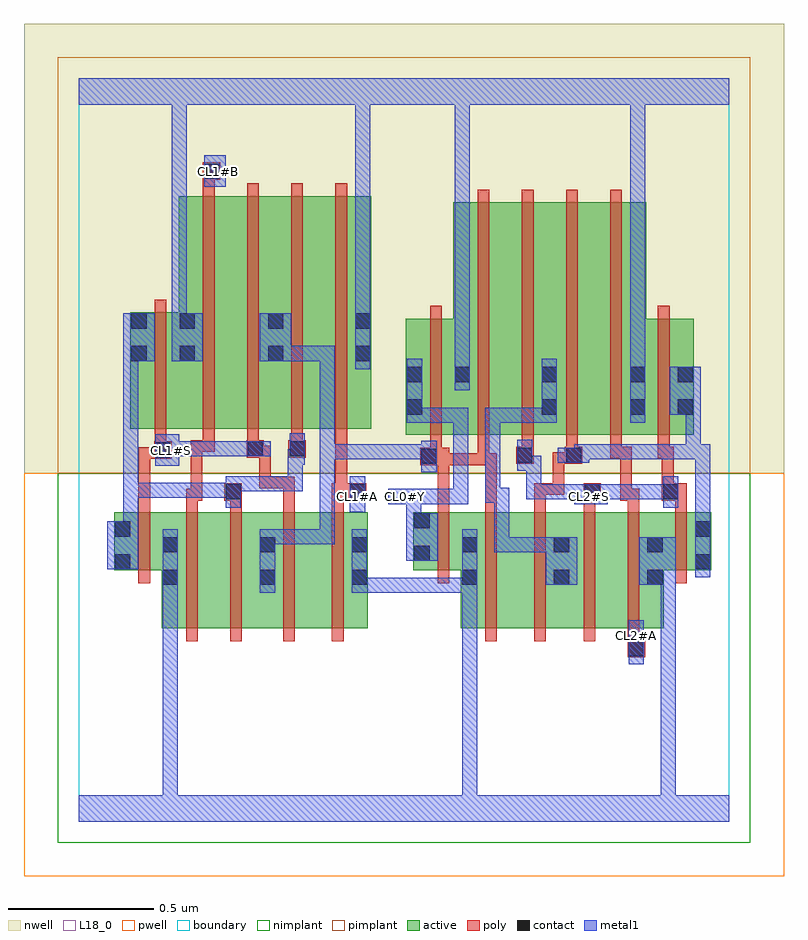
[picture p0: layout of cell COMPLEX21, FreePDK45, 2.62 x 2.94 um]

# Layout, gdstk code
import gdstk
lib = gdstk.Library(unit=1e-6, precision=1e-09)
def R(c, l, rs):  # rectangles x0, y0, x1, y1
    for r in rs: c.add(gdstk.rectangle(r[:2], r[2:], *l))
def A(c, l, x, y, w, h, nx, ny, dx, dy):  # array of equal rectangles
    R(c, l, [(x+i*dx, y+j*dy, x+i*dx+w, y+j*dy+h) for i in range(nx) for j in range(ny)])
active = (1, 0)
pwell = (2, 0)
nwell = (3, 0)
nimplant = (4, 0)
pimplant = (5, 0)
poly = (9, 0)
contact = (10, 0)
metal1 = (11, 0)
L18_0 = (18, 0)
boundary = (235, 0)

complex21 = lib.new_cell('COMPLEX21')
R(complex21, active, [(0.286,0.666,0.466,1.066), (0.286,0.666,0.346,0.984), (0.466,0.666,0.68,1.066), (0.62,0.666,0.8,1.066), (0.8,0.666,0.996,1.066), (1.316,0.666,1.376,1.066), (1.316,0.666,1.512,1.066), (1.512,0.666,1.692,1.066), (1.632,0.666,1.834,1.066), (1.834,0.666,2.014,1.066), (1.954,0.666,2.014,1.066), (0.62,0.756,0.68,0.984), (0.936,0.756,0.996,1.066), (1.632,0.756,1.692,1.066), (0.122,0.866,0.182,1.066), (0.122,0.866,0.346,1.066), (1.152,0.866,1.376,1.066), (1.954,0.866,2.178,1.066), (2.118,0.866,2.178,1.066), (1.152,0.894,1.212,1.066), (1.126,1.332,1.186,1.644), (1.126,1.332,1.35,1.732), (1.29,1.332,1.35,1.644), (1.29,1.332,1.47,2.132), (1.47,1.332,1.65,2.132), (1.59,1.332,1.774,2.132), (1.59,1.332,1.65,2.044), (1.774,1.332,1.954,2.132), (1.894,1.332,1.954,1.644), (1.894,1.332,2.118,1.732), (2.058,1.332,2.118,1.644), (0.178,1.354,0.238,1.754), (0.178,1.354,0.404,1.754), (0.344,1.354,0.524,2.154), (0.344,1.354,0.404,2.154), (0.524,1.354,0.708,2.154), (0.648,1.354,0.828,2.154), (0.648,1.354,0.708,2.044), (0.828,1.354,1.008,2.154), (0.948,1.354,1.008,2.044)])
R(complex21, pwell, [(-0.188,-0.188,2.428,1.2)])
R(complex21, nwell, [(-0.188,1.2,2.428,2.748)])
R(complex21, nimplant, [(-0.072,-0.072,2.312,1.2)])
R(complex21, pimplant, [(-0.072,1.2,2.312,2.632)])
A(complex21, poly, 1.526, 1.252, 0.04, 0.076, 3, 1, 0.152, 0)
A(complex21, poly, 0.428, 1.274, 0.04, 0.076, 3, 1, 0.152, 0)
A(complex21, poly, 1.374, 1.288, 0.04, 0.888, 4, 1, 0.152, 0)
A(complex21, poly, 0.428, 1.31, 0.04, 0.888, 4, 1, 0.152, 0)
R(complex21, poly, [(1.89,0.566,1.95,0.626), (1.89,0.586,1.93,0.662), (0.37,0.622,0.41,1.11), (0.522,0.622,0.562,1.11), (0.704,0.622,0.744,1.11), (0.872,0.622,0.912,1.11), (1.4,0.622,1.44,1.11), (1.568,0.622,1.608,1.11), (1.738,0.622,1.778,1.11), (1.89,0.622,1.93,1.11), (0.206,0.822,0.246,1.11), (1.236,0.822,1.276,1.11), (2.054,0.822,2.094,1.11), (0.206,1.07,0.246,1.29), (0.37,1.07,0.41,1.146), (0.522,1.07,0.562,1.146), (0.704,1.07,0.744,1.188), (0.872,1.07,0.912,1.146), (1.236,1.07,1.276,1.268), (1.4,1.07,1.44,1.268), (1.568,1.07,1.608,1.166), (1.738,1.07,1.778,1.146), (1.89,1.07,1.93,1.146), (2.054,1.07,2.094,1.146), (0.37,1.106,0.426,1.146), (0.386,1.106,0.426,1.314), (0.502,1.106,0.562,1.166), (0.872,1.106,0.99,1.166), (1.738,1.106,1.798,1.166), (1.864,1.106,1.904,1.292), (1.864,1.106,1.93,1.146), (2.008,1.106,2.094,1.166), (0.884,1.126,0.924,1.166), (0.884,1.126,0.924,1.166), (0.884,1.126,0.924,1.35), (1.568,1.126,1.608,1.166), (1.568,1.126,1.672,1.166), (1.632,1.126,1.672,1.272), (1.632,1.126,1.672,1.166), (2.008,1.126,2.048,1.292), (0.622,1.148,0.662,1.294), (0.622,1.148,0.662,1.188), (0.622,1.148,0.744,1.188), (0.704,1.148,0.744,1.188), (1.176,1.228,1.276,1.288), (1.236,1.228,1.276,1.268), (1.236,1.228,1.276,1.268), (1.236,1.228,1.414,1.268), (1.374,1.228,1.44,1.268), (1.374,1.228,1.414,1.268), (1.374,1.228,1.414,1.268), (1.374,1.228,1.414,1.328), (1.4,1.228,1.44,1.268), (1.4,1.228,1.44,1.268), (1.506,1.232,1.566,1.292), (1.632,1.232,1.714,1.272), (1.632,1.232,1.672,1.272), (1.674,1.232,1.734,1.292), (1.21,1.248,1.25,1.328), (0.206,1.25,0.3,1.29), (0.26,1.25,0.32,1.31), (0.26,1.25,0.3,1.29), (1.83,1.252,1.904,1.292), (1.994,1.252,2.034,1.328), (1.994,1.252,2.048,1.292), (0.578,1.254,0.638,1.314), (0.598,1.254,0.662,1.294), (0.622,1.254,0.662,1.294), (0.722,1.254,0.782,1.314), (0.262,1.27,0.302,1.35), (0.386,1.274,0.468,1.314), (1.21,1.288,1.25,1.776), (1.994,1.288,2.034,1.776), (0.262,1.31,0.302,1.798), (0.428,2.158,0.468,2.25), (0.428,2.21,0.488,2.27)])
R(complex21, contact, [(1.894,0.57,1.946,0.622), (0.29,0.816,0.342,0.868), (0.624,0.816,0.676,0.868), (0.94,0.816,0.992,0.868), (1.32,0.816,1.372,0.868), (1.636,0.816,1.688,0.868), (1.958,0.816,2.01,0.868), (0.126,0.87,0.178,0.922), (2.122,0.87,2.174,0.922), (1.156,0.898,1.208,0.95), (0.29,0.928,0.342,0.98), (0.624,0.928,0.676,0.98), (0.94,0.928,0.992,0.98), (1.32,0.928,1.372,0.98), (1.636,0.928,1.688,0.98), (1.958,0.928,2.01,0.98), (0.126,0.982,0.178,1.034), (2.122,0.982,2.174,1.034), (1.156,1.01,1.208,1.062), (0.506,1.11,0.558,1.162), (0.934,1.11,0.986,1.162), (1.742,1.11,1.794,1.162), (2.012,1.11,2.064,1.162), (1.18,1.232,1.232,1.284), (1.51,1.236,1.562,1.288), (1.678,1.236,1.73,1.288), (0.264,1.254,0.316,1.306), (0.582,1.258,0.634,1.31), (0.726,1.258,0.778,1.31), (1.13,1.402,1.182,1.454), (1.594,1.402,1.646,1.454), (1.898,1.402,1.95,1.454), (2.062,1.402,2.114,1.454), (1.13,1.514,1.182,1.566), (1.294,1.514,1.346,1.566), (1.594,1.514,1.646,1.566), (1.898,1.514,1.95,1.566), (2.062,1.514,2.114,1.566), (0.182,1.586,0.234,1.638), (0.348,1.586,0.4,1.638), (0.652,1.586,0.704,1.638), (0.952,1.586,1.004,1.638), (0.182,1.698,0.234,1.75), (0.348,1.698,0.4,1.75), (0.652,1.698,0.704,1.75), (0.952,1.698,1.004,1.75), (0.432,2.214,0.484,2.266)])
R(complex21, metal1, [(0,0,2.24,0.092), (0.29,0.04,0.342,0.092), (0.29,0.04,0.342,0.092), (0.29,0.04,0.342,0.092), (0.29,0.04,0.342,0.092), (0.29,0.04,0.342,0.84), (1.32,0.04,1.372,0.092), (1.32,0.04,1.372,0.092), (1.32,0.04,1.372,0.092), (1.32,0.04,1.372,0.092), (1.32,0.04,1.372,0.092), (1.32,0.04,1.372,0.092), (1.32,0.04,1.372,0.092), (1.32,0.04,1.372,0.092), (1.32,0.04,1.372,0.092), (1.32,0.04,1.372,0.092), (1.32,0.04,1.372,0.092), (1.32,0.04,1.372,0.092), (1.32,0.04,1.372,0.84), (2.004,0.04,2.056,0.868), (1.894,0.542,1.946,0.694), (0.29,0.788,0.342,0.84), (0.29,0.788,0.342,0.84), (0.29,0.788,0.342,0.84), (0.29,0.788,0.342,0.84), (0.29,0.788,0.342,0.84), (0.29,0.788,0.342,0.84), (0.29,0.788,0.342,0.84), (0.29,0.788,0.342,0.84), (0.29,0.788,0.342,1.008), (0.624,0.788,0.676,1.008), (0.94,0.788,0.992,1.008), (0.94,0.788,1.114,0.84), (1.062,0.788,1.114,0.84), (1.062,0.788,1.114,0.84), (1.062,0.788,1.114,0.84), (1.062,0.788,1.372,0.84), (1.32,0.788,1.372,1.008), (1.608,0.816,1.716,0.98), (1.93,0.816,2.056,0.98), (2.004,0.816,2.056,0.868), (2.004,0.816,2.056,0.868), (2.004,0.816,2.056,0.868), (2.004,0.816,2.056,0.868), (2.004,0.816,2.056,0.868), (2.004,0.816,2.056,0.868), (2.004,0.816,2.056,0.868), (2.004,0.816,2.056,0.868), (2.004,0.816,2.056,0.868), (2.004,0.816,2.056,0.868), (2.004,0.816,2.056,0.868), (2.004,0.816,2.056,0.868), (2.122,0.842,2.174,1.062), (0.098,0.87,0.206,1.034), (1.128,0.898,1.236,1.062), (1.43,0.928,1.482,0.98), (1.43,0.928,1.482,0.98), (1.43,0.928,1.482,0.98), (1.43,0.928,1.66,0.98), (1.43,0.928,1.482,1.15), (0.624,0.956,0.772,1.008), (0.72,0.956,0.772,1.008), (0.72,0.956,0.882,1.008), (0.83,0.956,0.882,1.008), (0.83,0.956,0.882,1.3), (0.154,0.982,0.206,1.168), (1.128,1.01,1.18,1.146), (2.122,1.01,2.174,1.3), (0.934,1.066,0.986,1.19), (0.506,1.082,0.558,1.19), (2.012,1.082,2.064,1.19), (1.066,1.094,1.18,1.146), (1.128,1.094,1.342,1.146), (1.29,1.094,1.342,1.146), (1.29,1.094,1.342,1.146), (1.29,1.094,1.342,1.146), (1.29,1.094,1.342,1.426), (1.706,1.094,1.822,1.162), (1.4,1.098,1.452,1.15), (1.4,1.098,1.452,1.15), (1.4,1.098,1.482,1.15), (1.4,1.098,1.452,1.426), (1.54,1.11,1.592,1.162), (1.54,1.11,1.758,1.162), (1.54,1.11,1.592,1.26), (1.77,1.11,1.822,1.162), (1.77,1.11,1.822,1.162), (1.77,1.11,1.932,1.162), (1.88,1.11,1.932,1.162), (1.88,1.11,1.932,1.162), (1.88,1.11,1.932,1.162), (1.88,1.11,2.064,1.162), (0.154,1.116,0.206,1.168), (0.154,1.116,0.206,1.168), (0.154,1.116,0.206,1.168), (0.154,1.116,0.316,1.168), (0.154,1.116,0.206,1.638), (0.264,1.116,0.316,1.168), (0.264,1.116,0.452,1.168), (0.4,1.116,0.452,1.168), (0.4,1.116,0.558,1.168), (0.506,1.116,0.558,1.168), (0.506,1.116,0.558,1.168), (0.506,1.138,0.772,1.19), (0.72,1.138,0.772,1.19), (0.72,1.138,0.772,1.282), (1.18,1.204,1.232,1.312), (1.51,1.208,1.562,1.316), (1.51,1.208,1.592,1.26), (1.54,1.208,1.592,1.26), (0.264,1.226,0.346,1.334), (0.72,1.23,0.772,1.282), (0.72,1.23,0.778,1.282), (0.726,1.23,0.778,1.338), (1.65,1.236,1.758,1.288), (1.706,1.236,1.758,1.288), (1.706,1.236,1.758,1.3), (0.83,1.248,0.882,1.3), (0.83,1.248,0.882,1.3), (0.83,1.248,0.882,1.3), (0.83,1.248,0.992,1.3), (0.83,1.248,0.882,1.638), (0.94,1.248,0.992,1.3), (0.94,1.248,0.992,1.3), (0.94,1.248,0.992,1.3), (0.94,1.248,1.232,1.3), (1.18,1.248,1.232,1.3), (1.18,1.248,1.232,1.3), (1.706,1.248,1.932,1.3), (1.88,1.248,1.932,1.3), (1.88,1.248,1.932,1.3), (1.88,1.248,1.932,1.3), (1.88,1.248,2.142,1.3), (2.09,1.248,2.142,1.454), (2.09,1.248,2.142,1.3), (2.09,1.248,2.142,1.3), (2.09,1.248,2.174,1.3), (2.122,1.248,2.174,1.3), (2.122,1.248,2.174,1.3), (0.294,1.258,0.346,1.31), (0.294,1.258,0.346,1.31), (0.294,1.258,0.452,1.31), (0.4,1.258,0.452,1.31), (0.4,1.258,0.482,1.31), (0.43,1.258,0.482,1.31), (0.43,1.258,0.606,1.31), (0.554,1.258,0.662,1.31), (1.13,1.374,1.182,1.594), (1.13,1.374,1.342,1.426), (1.29,1.374,1.342,1.426), (1.29,1.374,1.342,1.426), (1.29,1.374,1.342,1.426), (1.29,1.374,1.342,1.426), (1.29,1.374,1.342,1.426), (1.4,1.374,1.452,1.426), (1.4,1.374,1.452,1.426), (1.4,1.374,1.452,1.426), (1.4,1.374,1.646,1.426), (1.594,1.374,1.646,1.594), (1.898,1.374,1.95,1.594), (2.034,1.402,2.142,1.566), (1.294,1.486,1.346,1.594), (1.294,1.542,1.346,1.594), (1.294,1.542,1.346,1.594), (1.294,1.542,1.346,1.594), (1.294,1.542,1.346,1.594), (1.294,1.542,1.346,1.594), (1.294,1.542,1.346,1.594), (1.294,1.542,1.346,1.594), (1.294,1.542,1.346,1.594), (1.294,1.542,1.346,2.52), (1.898,1.542,1.95,1.594), (1.898,1.542,1.95,1.594), (1.898,1.542,1.95,1.594), (1.898,1.542,1.95,1.594), (1.898,1.542,1.95,1.594), (1.898,1.542,1.95,1.594), (1.898,1.542,1.95,2.52), (0.952,1.558,1.004,1.778), (0.154,1.586,0.262,1.75), (0.154,1.586,0.206,1.638), (0.154,1.586,0.206,1.638), (0.32,1.586,0.428,1.75), (0.624,1.586,0.732,1.75), (0.68,1.586,0.876,1.638), (0.824,1.586,0.876,1.638), (0.824,1.586,0.882,1.638), (0.83,1.586,0.882,1.638), (0.32,1.698,0.372,1.75), (0.32,1.698,0.372,1.75), (0.32,1.698,0.372,1.75), (0.32,1.698,0.372,1.75), (0.32,1.698,0.372,1.75), (0.32,1.698,0.372,1.75), (0.32,1.698,0.372,2.52), (0.952,1.726,1.004,1.778), (0.952,1.726,1.004,1.778), (0.952,1.726,1.004,2.52), (0.432,2.186,0.506,2.294), (0,2.468,2.24,2.56), (0.32,2.468,0.372,2.52), (0.32,2.468,0.372,2.52), (0.952,2.468,1.004,2.52), (0.952,2.468,1.004,2.52), (0.952,2.468,1.004,2.52), (0.952,2.468,1.004,2.52), (0.952,2.468,1.004,2.52), (0.952,2.468,1.004,2.52), (1.898,2.468,1.95,2.52), (1.898,2.468,1.95,2.52)])
R(complex21, L18_0, [(0,0,2.24,0.092), (0.29,0.04,0.342,0.092), (0.29,0.04,0.342,0.092), (0.29,0.04,0.342,0.092), (0.29,0.04,0.342,0.092), (0.29,0.04,0.342,0.84), (1.32,0.04,1.372,0.092), (1.32,0.04,1.372,0.092), (1.32,0.04,1.372,0.092), (1.32,0.04,1.372,0.092), (1.32,0.04,1.372,0.092), (1.32,0.04,1.372,0.092), (1.32,0.04,1.372,0.092), (1.32,0.04,1.372,0.092), (1.32,0.04,1.372,0.092), (1.32,0.04,1.372,0.092), (1.32,0.04,1.372,0.092), (1.32,0.04,1.372,0.092), (1.32,0.04,1.372,0.84), (2.004,0.04,2.056,0.868), (1.894,0.542,1.946,0.694), (1.894,0.614,1.946,0.666), (0.29,0.788,0.342,0.84), (0.29,0.788,0.342,0.84), (0.29,0.788,0.342,0.84), (0.29,0.788,0.342,0.84), (0.29,0.788,0.342,0.84), (0.29,0.788,0.342,0.84), (0.29,0.788,0.342,0.84), (0.29,0.788,0.342,0.84), (0.29,0.788,0.342,1.008), (0.94,0.788,0.992,1.008), (0.94,0.788,1.114,0.84), (1.062,0.788,1.114,0.84), (1.062,0.788,1.114,0.84), (1.062,0.788,1.114,0.84), (1.062,0.788,1.372,0.84), (1.32,0.788,1.372,1.008), (1.93,0.816,2.056,0.98), (2.004,0.816,2.056,0.868), (2.004,0.816,2.056,0.868), (2.004,0.816,2.056,0.868), (2.004,0.816,2.056,0.868), (2.004,0.816,2.056,0.868), (2.004,0.816,2.056,0.868), (2.004,0.816,2.056,0.868), (2.004,0.816,2.056,0.868), (2.004,0.816,2.056,0.868), (2.004,0.816,2.056,0.868), (2.004,0.816,2.056,0.868), (2.004,0.816,2.056,0.868), (1.128,0.898,1.236,1.062), (1.128,1.01,1.18,1.146), (0.934,1.066,0.986,1.19), (2.012,1.082,2.064,1.19), (0.934,1.094,0.986,1.146), (1.066,1.094,1.18,1.146), (1.094,1.094,1.146,1.146), (1.128,1.094,1.342,1.146), (1.29,1.094,1.342,1.146), (1.29,1.094,1.342,1.146), (1.29,1.094,1.342,1.146), (1.29,1.094,1.342,1.426), (1.706,1.094,1.822,1.162), (1.734,1.094,1.786,1.146), (1.54,1.11,1.592,1.162), (1.54,1.11,1.592,1.26), (1.54,1.11,1.758,1.162), (1.77,1.11,1.822,1.162), (1.77,1.11,1.822,1.162), (1.77,1.11,1.932,1.162), (1.88,1.11,1.932,1.162), (1.88,1.11,1.932,1.162), (1.88,1.11,1.932,1.162), (1.88,1.11,2.064,1.162), (1.51,1.208,1.592,1.26), (1.51,1.208,1.562,1.316), (1.54,1.208,1.592,1.26), (0.264,1.226,0.346,1.334), (0.294,1.254,0.346,1.306), (0.294,1.258,0.346,1.31), (0.294,1.258,0.346,1.31), (0.294,1.258,0.452,1.31), (0.4,1.258,0.452,1.31), (0.4,1.258,0.482,1.31), (0.43,1.258,0.482,1.31), (0.43,1.258,0.606,1.31), (0.554,1.258,0.662,1.31), (1.13,1.374,1.182,1.594), (1.13,1.374,1.342,1.426), (1.29,1.374,1.342,1.426), (1.29,1.374,1.342,1.426), (1.29,1.374,1.342,1.426), (1.29,1.374,1.342,1.426), (1.29,1.374,1.342,1.426), (1.898,1.374,1.95,1.594), (1.294,1.486,1.346,1.594), (1.294,1.542,1.346,1.594), (1.294,1.542,1.346,1.594), (1.294,1.542,1.346,1.594), (1.294,1.542,1.346,1.594), (1.294,1.542,1.346,1.594), (1.294,1.542,1.346,1.594), (1.294,1.542,1.346,1.594), (1.294,1.542,1.346,1.594), (1.294,1.542,1.346,2.52), (1.898,1.542,1.95,1.594), (1.898,1.542,1.95,1.594), (1.898,1.542,1.95,1.594), (1.898,1.542,1.95,1.594), (1.898,1.542,1.95,1.594), (1.898,1.542,1.95,1.594), (1.898,1.542,1.95,2.52), (0.952,1.558,1.004,1.778), (0.32,1.586,0.428,1.75), (0.32,1.698,0.372,1.75), (0.32,1.698,0.372,1.75), (0.32,1.698,0.372,1.75), (0.32,1.698,0.372,1.75), (0.32,1.698,0.372,1.75), (0.32,1.698,0.372,1.75), (0.32,1.698,0.372,2.52), (0.952,1.726,1.004,1.778), (0.952,1.726,1.004,1.778), (0.952,1.726,1.004,2.52), (0.432,2.186,0.506,2.294), (0.454,2.214,0.506,2.266), (0,2.468,2.24,2.56), (0.32,2.468,0.372,2.52), (0.32,2.468,0.372,2.52), (0.952,2.468,1.004,2.52), (0.952,2.468,1.004,2.52), (0.952,2.468,1.004,2.52), (0.952,2.468,1.004,2.52), (0.952,2.468,1.004,2.52), (0.952,2.468,1.004,2.52), (1.898,2.468,1.95,2.52), (1.898,2.468,1.95,2.52)])
R(complex21, boundary, [(0,0,2.24,2.56)])
complex21.add(gdstk.Label('CL0#Y', (1.12,1.12), layer=11, texttype=0))
complex21.add(gdstk.Label('CL1#A', (0.96,1.12), layer=11, texttype=0))
complex21.add(gdstk.Label('CL1#B', (0.48,2.24), layer=11, texttype=0))
complex21.add(gdstk.Label('CL1#S', (0.32,1.28), layer=11, texttype=0))
complex21.add(gdstk.Label('CL2#A', (1.92,0.64), layer=11, texttype=0))
complex21.add(gdstk.Label('CL2#S', (1.76,1.12), layer=11, texttype=0))

lib.write_gds('COMPLEX21.gds')
